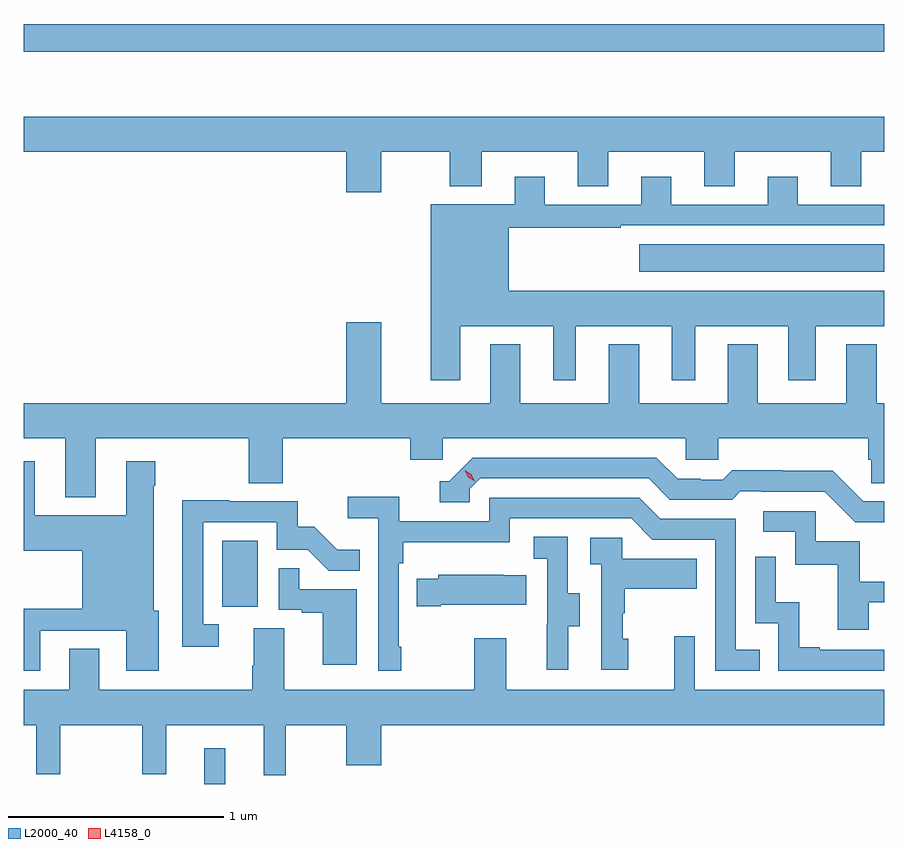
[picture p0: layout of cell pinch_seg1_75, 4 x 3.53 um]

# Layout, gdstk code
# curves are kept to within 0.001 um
import gdstk
lib = gdstk.Library(unit=1e-6, precision=1e-09)
def R(c, l, rs):  # rectangles x0, y0, x1, y1
    for r in rs: c.add(gdstk.rectangle(r[:2], r[2:], *l))
def P(c, l, *ps):  # polygons
    for p in ps: c.add(gdstk.Polygon(p, *l))
L2000_40 = (2000, 40)
L4158_0 = (4158, 0)

pinch_seg1_75 = lib.new_cell('pinch_seg1_75')
R(pinch_seg1_75, L2000_40, [(1027.485,574.102,1027.582,574.267), (1027.568,574.926,1027.732,575.233), (1029.507,576.482,1030.645,576.61), (1026.645,577.506,1030.645,577.634)])
P(pinch_seg1_75, L2000_40, [(1026.645,577.04),(1028.144,577.04),(1028.144,576.852),(1028.308,576.852),(1028.308,577.04),(1028.626,577.04),(1028.626,576.881),(1028.773,576.881),(1028.773,577.04),(1029.221,577.04),(1029.221,576.88),(1029.361,576.88),(1029.361,577.04),(1029.809,577.04),(1029.809,576.88),(1029.949,576.88),(1029.949,577.04),(1030.397,577.04),(1030.397,576.88),(1030.537,576.88),(1030.537,577.04),(1030.645,577.04),(1030.645,577.204),(1026.645,577.204)],
  [(1028.674,576.23),(1029.107,576.23),(1029.107,575.979),(1029.211,575.979),(1029.211,576.23),(1029.656,576.23),(1029.656,575.979),(1029.766,575.979),(1029.766,576.23),(1030.199,576.23),(1030.199,575.979),(1030.327,575.979),(1030.327,576.23),(1030.645,576.23),(1030.645,576.394),(1028.899,576.394),(1028.899,576.687),(1029.419,576.687),(1029.419,576.699),(1030.645,576.699),(1030.645,576.795),(1030.243,576.795),(1030.243,576.925),(1030.103,576.925),(1030.103,576.795),(1029.655,576.795),(1029.655,576.925),(1029.515,576.925),(1029.515,576.795),(1029.067,576.795),(1029.067,576.925),(1028.927,576.925),(1028.927,576.796),(1028.537,576.796),(1028.537,575.979),(1028.674,575.979)],
  [(1026.979,575.708),(1027.69,575.708),(1027.69,575.5),(1027.85,575.5),(1027.85,575.708),(1028.441,575.708),(1028.441,575.61),(1028.592,575.61),(1028.592,575.708),(1029.723,575.708),(1029.723,575.61),(1029.873,575.61),(1029.873,575.708),(1030.571,575.708),(1030.571,575.61),(1030.585,575.61),(1030.585,575.5),(1030.645,575.5),(1030.645,575.872),(1030.609,575.872),(1030.609,576.145),(1030.469,576.145),(1030.469,575.872),(1030.057,575.872),(1030.057,576.145),(1029.917,576.145),(1029.917,575.872),(1029.505,575.872),(1029.505,576.145),(1029.365,576.145),(1029.365,575.872),(1028.953,575.872),(1028.953,576.145),(1028.813,576.145),(1028.813,575.872),(1028.308,575.872),(1028.308,576.247),(1028.144,576.247),(1028.144,575.872),(1026.645,575.872),(1026.645,575.708),(1026.839,575.708),(1026.839,575.435),(1026.979,575.435)],
  [(1030.645,575.415),(1030.548,575.415),(1030.406,575.557),(1030.17,575.557),(1030.17,575.56),(1029.937,575.56),(1029.895,575.517),(1029.792,575.517),(1029.792,575.52),(1029.685,575.52),(1029.586,575.619),(1028.733,575.619),(1028.622,575.508),(1028.579,575.508),(1028.579,575.412),(1028.718,575.412),(1028.718,575.475),(1028.766,575.523),(1029.549,575.523),(1029.648,575.424),(1029.937,575.424),(1029.976,575.463),(1030.075,575.463),(1030.075,575.46),(1030.368,575.46),(1030.509,575.319),(1030.645,575.319)],
  [(1026.721,574.815),(1027.121,574.815),(1027.121,574.629),(1027.273,574.629),(1027.273,574.908),(1027.249,574.908),(1027.249,575.489),(1027.257,575.489),(1027.257,575.602),(1027.121,575.602),(1027.121,575.35),(1026.697,575.35),(1026.697,575.602),(1026.645,575.602),(1026.645,575.186),(1026.917,575.186),(1026.917,574.916),(1026.645,574.916),(1026.645,574.629),(1026.721,574.629)],
  [(1028.401,574.741),(1028.388,574.741),(1028.388,575.129),(1028.408,575.129),(1028.408,575.225),(1028.904,575.225),(1028.904,575.337),(1029.468,575.337),(1029.567,575.238),(1029.858,575.238),(1029.858,574.629),(1030.067,574.629),(1030.067,574.725),(1029.954,574.725),(1029.954,575.334),(1029.604,575.334),(1029.505,575.433),(1028.808,575.433),(1028.808,575.322),(1028.39,575.322),(1028.39,575.438),(1028.151,575.438),(1028.151,575.336),(1028.292,575.336),(1028.292,574.629),(1028.401,574.629)],
  [(1027.552,574.845),(1027.479,574.845),(1027.479,575.319),(1027.821,575.319),(1027.821,575.19),(1027.965,575.19),(1028.063,575.092),(1028.207,575.092),(1028.207,575.191),(1028.103,575.191),(1027.996,575.298),(1027.92,575.298),(1027.92,575.415),(1027.601,575.415),(1027.601,575.42),(1027.382,575.42),(1027.383,574.74),(1027.552,574.74)],
  [(1030.573,574.947),(1030.645,574.947),(1030.645,575.043),(1030.531,575.043),(1030.531,575.229),(1030.326,575.229),(1030.326,575.37),(1030.083,575.37),(1030.083,575.274),(1030.23,575.274),(1030.23,575.121),(1030.429,575.121),(1030.429,574.818),(1030.573,574.818)],
  [(1029.175,574.834),(1029.229,574.834),(1029.229,574.989),(1029.174,574.989),(1029.174,575.252),(1029.015,575.252),(1029.015,575.149),(1029.078,575.149),(1029.078,574.845),(1029.077,574.845),(1029.077,574.632),(1029.175,574.632)],
  [(1029.454,574.776),(1029.429,574.776),(1029.429,574.895),(1029.439,574.895),(1029.439,575.009),(1029.773,575.009),(1029.773,575.149),(1029.426,575.149),(1029.426,575.247),(1029.279,575.247),(1029.279,575.123),(1029.33,575.123),(1029.33,574.632),(1029.454,574.632)],
  [(1030.645,574.725),(1030.345,574.725),(1030.345,574.738),(1030.25,574.738),(1030.25,574.946),(1030.14,574.946),(1030.14,575.158),(1030.044,575.158),(1030.044,574.848),(1030.152,574.848),(1030.152,574.629),(1030.645,574.629)],
  [(1028.194,575.007),(1027.925,575.007),(1027.925,575.105),(1027.83,575.105),(1027.83,574.911),(1027.937,574.911),(1027.937,574.899),(1028.036,574.899),(1028.036,574.656),(1028.194,574.656)],
  [(1028.584,574.934),(1028.981,574.934),(1028.981,575.071),(1028.873,575.071),(1028.873,575.074),(1028.571,575.074),(1028.571,575.056),(1028.473,575.056),(1028.473,574.927),(1028.584,574.927)],
  [(1027.862,574.376),(1028.144,574.376),(1028.144,574.188),(1028.308,574.188),(1028.308,574.376),(1030.645,574.376),(1030.645,574.54),(1029.765,574.54),(1029.765,574.789),(1029.668,574.789),(1029.668,574.54),(1028.887,574.54),(1028.887,574.78),(1028.74,574.78),(1028.74,574.54),(1027.855,574.54),(1027.855,574.826),(1027.715,574.826),(1027.715,574.652),(1027.708,574.652),(1027.708,574.54),(1026.997,574.54),(1026.997,574.73),(1026.857,574.73),(1026.857,574.54),(1026.645,574.54),(1026.645,574.376),(1026.704,574.376),(1026.704,574.148),(1026.814,574.148),(1026.814,574.376),(1027.197,574.376),(1027.197,574.148),(1027.307,574.148),(1027.307,574.376),(1027.76,574.376),(1027.76,574.143),(1027.862,574.143)])
P(pinch_seg1_75, L4158_0, [(1028.742,575.509),(1028.711,575.528),(1028.694,575.561),(1028.694,575.561),(1028.695,575.561),(1028.726,575.542),(1028.742,575.509),(1028.742,575.509)])

lib.write_gds('pinch_seg1_75.gds')
